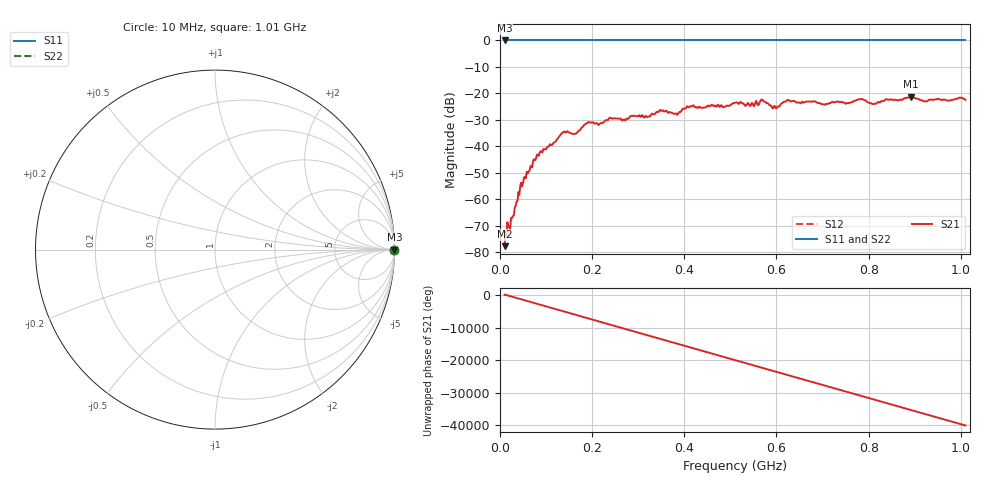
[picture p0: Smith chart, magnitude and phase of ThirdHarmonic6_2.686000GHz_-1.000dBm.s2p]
! 8/17/2025 6:20:43 AM
! C:\ANRITSUVNA\TEMP\TEMP.S2P
! CHANNEL.1
! TR.MEASUREMENT
! RAW.DATA
! RF.CORRECTION.OFF
! AVERAGING.OFF
! IF.BANDWIDTH: 5KHZ
! SWEEPTYPE:  FREQ.SWEEP(Linear)
! Reference Plane Port Info
! PORT:  PORT1  PORT2
! DISTANCE:  0  m  0  m
! TIME:  0  s  0  s
! PHASE.OFFSET:  0  deg.  0  deg.
! LOSS:  0  dB  0  dB
! REF.LOSS:  0  dB  0  dB
! REF.FREQ:  0  Hz  0  Hz
! Power Info
! POWER:  -20  dBm  -20  dBm
! EFF.POWER:  -20  dBm  -20  dBm
! SOURCE.ATTEN:  0  dB  0  dB
! TEST.ATTEN:  0  dB  0  dB
# GHZ S RI R 50.0
! FREQ.GHZ  S11RE  S11IM  S21RE  S21IM  S12RE  S12IM  S22RE  S22IM
!; PortSelection: Port_12
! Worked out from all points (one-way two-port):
!   501 points, 10 MHz to 1.01 GHz, reference 50 ohm
!   highest |S21| = -21.29 dB at 892 MHz (marker M1); lowest = -77.7 dB at 10 MHz (marker M2)
!   lowest |S11| = 0.0 dB at 10 MHz (marker M3)
!   |S11| at or under -10 dB: nowhere
!   |S22| runs from 0.0 to 0.0 dB; largest |S21 - S12| = 1.1
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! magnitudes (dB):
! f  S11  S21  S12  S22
! 10 MHz  0.0  -77.7  0.0  0.0
! 16 MHz  0.0  -68.6  0.0  0.0
! 48 MHz  0.0  -55.1  0.0  0.0
! 76 MHz  0.0  -45.3  0.0  0.0
! 136 MHz  0.0  -34.9  0.0  0.0
! 162 MHz  0.0  -35.2  0.0  0.0
! 178 MHz  0.0  -32.8  0.0  0.0
! 192 MHz  0.0  -30.8  0.0  0.0
! 322 MHz  0.0  -28.8  0.0  0.0
! 344 MHz  0.0  -27.0  0.0  0.0
! 382 MHz  0.0  -27.5  0.0  0.0
! 416 MHz  0.0  -25.0  0.0  0.0
! 510 MHz  0.0  -23.5  0.0  0.0
! 570 MHz  0.0  -22.5  0.0  0.0
! 596 MHz  0.0  -24.7  0.0  0.0
! 624 MHz  0.0  -22.4  0.0  0.0
! 678 MHz  0.0  -23.1  0.0  0.0
! 784 MHz  0.0  -22.2  0.0  0.0
! 812 MHz  0.0  -23.9  0.0  0.0
! 844 MHz  0.0  -22.4  0.0  0.0
! 892 MHz  0.0  -21.3  0.0  0.0
! 1.01 GHz  0.0  -22.4  0.0  0.0
